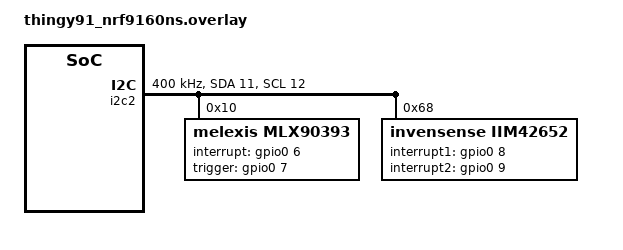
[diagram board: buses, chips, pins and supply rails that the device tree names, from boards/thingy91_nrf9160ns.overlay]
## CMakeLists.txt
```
#
# Copyright (c) 2020 Nordic Semiconductor
#
# SPDX-License-Identifier: LicenseRef-Nordic-5-Clause
#

cmake_minimum_required(VERSION 3.13.1)

find_package(Zephyr REQUIRED HINTS $ENV{ZEPHYR_BASE})
project(mlx90393_api_backend)

zephyr_library_include_directories(.)
zephyr_include_directories(src)

# NORDIC SDK APP START
target_sources(app PRIVATE src/main.c)
target_sources(app PRIVATE src/at.c)
target_sources(app PRIVATE src/nbiot.c)
target_sources(app PRIVATE src/transport.c)
target_sources(app PRIVATE src/backend.c)
target_sources(app PRIVATE src/mlx90393.c)
target_sources(app PRIVATE src/iim42652.c)
# NORDIC SDK APP END
```

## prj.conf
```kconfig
# TODO: Organize and categorize this config file

CONFIG_NRF_MODEM_LIB=y
CONFIG_NRF_MODEM_LIB_SYS_INIT=n

CONFIG_NETWORKING=y
CONFIG_NET_IPV4=y
CONFIG_NET_IPV6=y
CONFIG_NET_TCP=y
# CONFIG_NET_SHELL=y

CONFIG_NET_SOCKETS=y
CONFIG_NET_SOCKETS_OFFLOAD=y
CONFIG_NET_SOCKETS_SOCKOPT_TLS=y
CONFIG_NET_SOCKETS_POSIX_NAMES=y
CONFIG_NET_NATIVE=n
CONFIG_NET_CONFIG_LOG_LEVEL_DBG=y

# Debug stuff. TODO: Move to a separate debug overlay
CONFIG_DEBUG=y

# Enabling this setting makes the firmware crash!!! So unless this is figured
# out, you shouldn't use it (yet)...
# CONFIG_NO_OPTIMIZATIONS=y

CONFIG_DEBUG_OPTIMIZATIONS=y
CONFIG_DEBUG_THREAD_INFO=y
CONFIG_EXTRA_EXCEPTION_INFO=y

CONFIG_THREAD_STACK_INFO=y
# CONFIG_THREAD_MONITOR=y
# CONFIG_KERNEL_SHELL=y
# CONFIG_INIT_STACKS=y
CONFIG_THREAD_NAME=y

# HTTP
CONFIG_HTTP_CLIENT=y

CONFIG_HEAP_MEM_POOL_SIZE=6000
CONFIG_MAIN_STACK_SIZE=8000
CONFIG_SYSTEM_WORKQUEUE_STACK_SIZE=2048
CONFIG_HW_STACK_PROTECTION=y

CONFIG_MODEM_INFO=y
CONFIG_MODEM_KEY_MGMT=y

CONFIG_JSON_LIBRARY=y

# Enable modem UART traces
CONFIG_NRF_MODEM_LIB_TRACE_ENABLED=y

CONFIG_LTE_LINK_CONTROL=y
CONFIG_LTE_AUTO_INIT_AND_CONNECT=n

CONFIG_NEWLIB_LIBC=y
CONFIG_NEWLIB_LIBC_FLOAT_PRINTF=y

# Config logger
CONFIG_LOG=y
CONFIG_NET_LOG=y
CONFIG_USE_SEGGER_RTT=y
CONFIG_LOG_BACKEND_RTT=y
CONFIG_LOG_BACKEND_UART=n

# CONFIG_NET_SOCKETS_LOG_LEVEL_DBG=y
# CONFIG_NET_HTTP_LOG_LEVEL_DBG=y
# CONFIG_LTE_LINK_CONTROL_LOG_LEVEL_DBG=y
# CONFIG_NRF_MODEM_LIB_LOG_LEVEL_DBG=y
# CONFIG_AT_CMD_LOG_LEVEL_DBG=y
CONFIG_SENSOR_LOG_LEVEL_DBG=y

# TODO: Adjust logging memory usage to bare minimum...
CONFIG_LOG_STRDUP_MAX_STRING=2000
CONFIG_LOG_STRDUP_BUF_COUNT=15
CONFIG_LOG_PRINTK=y
CONFIG_LOG_PRINTK_MAX_STRING_LENGTH=300

CONFIG_USERSPACE=y
CONFIG_PRINTK_BUFFER_SIZE=500

CONFIG_LOG_PROCESS_THREAD_STACK_SIZE=4000
CONFIG_LOG_BUFFER_SIZE=4000
CONFIG_LOG_DETECT_MISSED_STRDUP=y

CONFIG_CONSOLE=y
CONFIG_RTT_CONSOLE=y
CONFIG_UART_CONSOLE=n

CONFIG_ASSERT=y
CONFIG_REBOOT=y
CONFIG_RESET_ON_FATAL_ERROR=n
CONFIG_FPU=y

# # Use LTE-M instead of NB-IoT
# CONFIG_LTE_NETWORK_MODE_NBIOT=n
# CONFIG_LTE_NETWORK_MODE_LTE_M=y

# Use NB-IoT instead of LTE-M
CONFIG_LTE_NETWORK_MODE_NBIOT=y
# CONFIG_LTE_NETWORK_MODE_LTE_M=n
# CONFIG_LTE_LEGACY_PCO_MODE=y

# TODO: Checkout UDP nrf sample for extra stuff like PSM, eDRX and RAI


# For Thingy91 (but seemingly unnecessary?)
# CONFIG_BOOTLOADER_MCUBOOT=y
# CONFIG_IMG_MANAGER=y
# CONFIG_MCUBOOT_IMG_MANAGER=y
# CONFIG_IMG_ERASE_PROGRESSIVELY=y

# CONFIG_FLASH=y
# CONFIG_FLASH_PAGE_LAYOUT=y
# CONFIG_FLASH_MAP=y
# CONFIG_STREAM_FLASH=y
# CONFIG_MPU_ALLOW_FLASH_WRITE=y

# GPIO config
CONFIG_GPIO=y

# Enable I2C for the IMU(s)
CONFIG_I2C=y
CONFIG_SENSOR=y

# TODO: Add Kconfig file with these options so they work...
# CONFIG_MLX90393=y
```

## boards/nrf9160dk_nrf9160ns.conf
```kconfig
CONFIG_DK_LIBRARY=y
```

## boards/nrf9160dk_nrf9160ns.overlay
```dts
&i2c2 {
	compatible = "nordic,nrf-twim";
	status = "okay";
	sda-pin = <30>;
	scl-pin = <31>;

	// TODO: Switch to I2C_BITRATE_FAST so we get 400 kHz instead of 100 kHz
	// communication? Look at documentation and power usage...
	clock-frequency = <I2C_BITRATE_STANDARD>;

	magnetometer_imu: mlx90393@c {
		compatible = "melexis,mlx90393";
		status = "okay";
		label = "MLX90393";
		reg = <0x0C>;

		// This defines the GPIO pin which is used for the interrupt
		interrupt-gpios = <&gpio0 13 (GPIO_ACTIVE_HIGH)>;

		// This defines the GPIO pin which is used for the trigger
		trigger-gpios = <&gpio0 20 (GPIO_ACTIVE_HIGH)>;
	};
};
```

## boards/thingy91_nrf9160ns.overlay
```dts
&i2c2 {
	compatible = "nordic,nrf-twim";
	status = "okay";
	sda-pin = <11>;
	scl-pin = <12>;

	// TODO: Switch to I2C_BITRATE_FAST so we get 400 kHz instead of 100 kHz
	// communication? Look at documentation and power usage...
	clock-frequency = <I2C_BITRATE_FAST>;

	magnetometer_imu: mlx90393@10 {
		compatible = "melexis,mlx90393";
		status = "okay";
		label = "MLX90393";
		reg = <0x10>;

		// This defines the GPIO pin which is used for the interrupt
		interrupt-gpios = <&gpio0 6 (GPIO_ACTIVE_HIGH)>;

		// This defines the GPIO pin which is used for the trigger
		trigger-gpios = <&gpio0 7 (GPIO_ACTIVE_HIGH)>;
	};

	accel: iim42652@68 {
		compatible = "invensense,iim42652";
		status = "okay";
		label = "IIM42652";
		reg = <0x68>;

		// GPIO pin for the interrupt
		interrupt1-gpios = <&gpio0 8 (GPIO_ACTIVE_HIGH)>;
		interrupt2-gpios = <&gpio0 9 (GPIO_ACTIVE_HIGH)>;
	};
};
```

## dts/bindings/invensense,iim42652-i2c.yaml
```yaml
# TODO: Move this to the IIM42652 driver eventually
description: |
  DeviceTree binding for the Invensense IIM42652 6-axis acceleromter and
  gyrometer IMU with temperature sensor.
compatible: "invensense,iim42652"
on-bus: i2c
include: i2c-device.yaml

# TODO: Add actual properties for the magnetomer here...
properties:
  interrupt1-gpios:
    type: phandle-array
    required: true
    description: |
      The INT signal default configuration is active-high. The property value
      should ensure that the flags properly describe the signal that is
      presented to the driver.

  interrupt2-gpios:
    type: phandle-array
    required: true
    description: |
      The INT signal default configuration is active-high. The property value
      should ensure that the flags properly describe the signal that is
      presented to the driver.
```

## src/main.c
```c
/*
 * Copyright (c) 2020 Nordic Semiconductor ASA
 *
 * SPDX-License-Identifier: LicenseRef-Nordic-5-Clause
 */

#include <logging/log.h>
LOG_MODULE_REGISTER(mlx90393_backend_integration, LOG_LEVEL_DBG);

// #include <string.h>
#include <stdbool.h>

#include <zephyr.h>

#include <net/net_ip.h>
#include <net/socket.h>

#include <at.h>
#include <nbiot.h>
#include <transport.h>
#include <backend.h>
#include <imu.h>
#include <mlx90393.h>
#include <iim42652.h>


// TODO: Clean this stuff up...
#include <zephyr/types.h>

#include <device.h>
#include <devicetree.h>
#include <drivers/gpio.h>
#include <drivers/sensor.h>

static K_SEM_DEFINE(sensor_data_ready, 0, 1);



/*
******************************************************************************
ISSUES list with this firmware...
********************************************************************************
1. HTTP GET does not always return entire response content. A regular curl
   script works just fine.
2. Parsing of JSON from said GET response, if complete, also does not work,
   returning a -22. The individual bits of the error value indicate which
   token/part failed to be parsed, so we should analyze that.

Workarounds for the above: hardcode the required asset and DN config IDs.

3. Encoding of the measurement sample data gives a zephyr crash, with a bus
   fault error. This is due to the encoding of strings, for some reason... This
   is a gamebreaker, because it prevents us from use a nice library to encode
   UTC timestamps etc... See MAKE_JSON_ENCODING_CRASH define.

Workaround: Send hardcoded, pre-formated and prepared JSON payload with hacky
snprintf() formatted data.

4. When using the modem shell sample, it is possible to see the mobile network
   time and date. However, it will sometimes be in the wrong timezone: "+8",
   which corresponds to any one of:
		- Russia
		- Taiwan
		- Mongolia
		- China
		- Malaysia
		- Brenei
		- The Philippines
		- Indonesia
		- Austrialia
   Obviously, this does not make sense... Sometimes it will be "+1", which seems
   about right for our country.

Workaround for now: hardcode the time_measured
Future workaround: Get proper UTC time from the modem, or maybe cut off the +8
part?
Best fix: Upgrade to SDK >= 1.7.0 and use the DateTime library to do NTP and get
proper UTC time.

	-> For now, microseconds are fixed to 0 as the network time does not report
	those, highest resolution is only limited to seconds. But, we have datetime.

5. This firmware does not yet work on our new PCB. The modem does not seem to
   get to the state where it can provide a working NB-IoT internet connection...
   Also, because it does work on the Thingy91 and our devkit! :/ This is really
   strange and frustrating, because:
   - the Thiny91 and devkit have been proven to work with NB-IoT, connecting to
     nRF Cloud via MQTT.
   - the Thingy91 uses the same nRF9160 chip (nRF9160_xxAA_REV2, SICA B0 for
     Thingy91, SICA B1 for devkit), modem firmware (1.3.0), and sim chip
     (NX3DV2567)...
   - the https_client sample works on the devkit and Thingy91, but not on the
     PCB...

Workaround: none :(
Cause: There is copper below the NB-IoT antenna, in the keepout zone.

6. MLX90393 is not integrated yet...

Workaround: Fake data for now, but this should not be a significant hurdle...

*/

////////////////////////////////////////////////////////////////////////////////
// NB-IoT stuff
////////////////////////////////////////////////////////////////////////////////

int setup_nbiot_things(void) {
	int err = setup_lte_modem_library();

	if (err < 0) {
		LOG_ERR("Failed to setup the LTE modem library (%d)...", err);
		return err;
	}

	/* Initialize AT comms in order to provision the certificate */
	err = at_comms_init();

	if (err < 0)
	{
		LOG_ERR("Failed to initialize AT comms with the LTE modem (%d)!", err);
		return err;
	}

	err = setup_nbiot();

	if (err < 0) {
		LOG_ERR("Failed to setup NB-IoT, err %d", err);
		return err;
	}

	print_modem_firmware_version();

	return 0;
}

int shutdown_nbiot_things(struct addrinfo *res, int fd) {
	disconnect_server(res, fd);
	return disconnect_nbiot();
}

int connect_to_backend(struct addrinfo **res) {
	// Upload via NB-IoT
	int err = connect_nbiot();

	if (err < 0) {
		LOG_ERR("Failed to connect to NB-IoT network, err %d", err);
		return err;
	}

	err = set_proper_network_datetime();

	if (err < 0) {
		LOG_ERR("Failed to set the proper network datetime, err %d", err);
		return err;
	}

	print_signal_conditions();
	print_magpio_parameters();

	// TODO: When testing with the new PCB, uncomment this to see if that maybe
	// influences the signal conditions next run?
	// set_test_magpio_parameters();

	const size_t network_datetime_size = 50;
	char network_datetime[network_datetime_size];
	memset(network_datetime, 0, network_datetime_size);
	err = get_network_datetime(network_datetime, network_datetime_size);

	if (err) {
		LOG_ERR("Failed to get the current network datetime, err %d!", err);
	} else {
		LOG_INF("Current network datetime (GMT): %s", log_strdup(network_datetime));
	}

	LOG_DBG("Connecting to the backend server...");
	int fd = connect_server(HTTPS_HOSTNAME, strlen(HTTPS_HOSTNAME), res);

	if (fd < 0) {
		LOG_ERR("Failed to connect to the server, err: %d", fd);
		return fd;
	}

	// Connection should now be established and working...
	return fd;
}

////////////////////////////////////////////////////////////////////////////////
// Sensor stuff
////////////////////////////////////////////////////////////////////////////////

static void trigger_handler(const struct device *dev, struct sensor_trigger *trigger) {
	ARG_UNUSED(dev);

	switch (trigger->type) {
		case SENSOR_TRIG_TIMER:
			LOG_INF("Timer trigger!");
			break;

		case SENSOR_TRIG_DATA_READY:
			LOG_INF("Data ready trigger!");
			break;

		default:
			LOG_INF("Unknown trigger type %d!", trigger->type);
			break;
	}

	k_sem_give(&sensor_data_ready);
}

int setup_mlx90393_things(const struct device *mlx90393_dev) {
	// Setup MLX90393
	// Maybe wait for the init to complete?
	mlx90393_dev = device_get_binding("MLX90393");

	if (!mlx90393_dev) {
		LOG_ERR("Failed to get device binding for MLX90393");
		return -1;
	}

	LOG_INF("MLX90393 device is %p, name is %s", mlx90393_dev, mlx90393_dev->name);

	if (use_interrupt) {
		if (!use_low_level) {
			struct sensor_trigger sensor_trigger_config = {
				.type = SENSOR_TRIG_DATA_READY,
				.chan = SENSOR_CHAN_ALL,
			};

			if (sensor_trigger_set(mlx90393_dev, &sensor_trigger_config, trigger_handler)) {
				LOG_ERR("Could not setup sensor trigger!");
				k_sleep(K_MSEC(100));
				return -2;
			}
		}
	}

	return 0;
}

////////////////////////////////////////////////////////////////////////////////
// Main function
////////////////////////////////////////////////////////////////////////////////

void main(void)
{
	int err = -1;
	LOG_INF("New backend API firmware started - compiled at %s", __TIMESTAMP__);

	// Setup NB-IoT
	err = setup_nbiot_things();

	if (err < 0) {
		LOG_ERR("Failed to setup NB-IoT things (%d)! Shutting down...", err);
		k_msleep(10);
		return;
	}

	// Test IIM42652
	const struct device *iim42652_dev = device_get_binding("IIM42652");

	if (!iim42652_dev) {
		LOG_ERR("Failed to get device binding for IIM42652");
		return;
	}

	err = test_who_am_i();

	if (err < 0) {
		LOG_ERR("Failed to get WHO_AM_I from IIM42652 (%d)", err);
	}

	// Setup MLX90393
	struct device *mlx90393_dev = NULL;
	err = setup_mlx90393_things(mlx90393_dev);

	if (err < 0) {
		LOG_ERR("Failed to setup MLX90393 things (%d)! Shutting down...", err);
		k_msleep(10);
		return;
	}

	uint32_t iterations = 0u;
	// uint8_t burst_sample_rate = 50; // Multiply by 20 ms to get actual sample
	// rate
	#if 1
	enum mlx90393_mode mode = MLX90393_SINGLE_MEASUREMENT_MODE;
	#else
	enum mlx90393_mode mode = MLX90393_BURST_MODE;
	#endif

	LOG_DBG("Current mode: %d", mode);

	bool mode_set = false;
	uint32_t num_samples = 0u;
	uint32_t num_uploads = 0u;

	while (true) {
		// Disable/enable reading of MLX90393
		#if (1)

		// Get actual measurement data
		if (use_low_level) {
			// Read all temperature + xyz axes of MLX90393 magnetometer
			uint8_t zyxt = MLX90393_T | MLX90393_X | MLX90393_Y | MLX90393_Z;
			const uint8_t max_attempts = 10u;

			// Keep doing Melexis reading until we succeed...
			while (1) {
				bool success = false;
				bool in_correct_mode = false;

				uint8_t command = MLX90393_CMD_NOP;

				switch (mode) {
					case MLX90393_SINGLE_MEASUREMENT_MODE:
						command = MLX90393_CMD_SM;
						break;

					case MLX90393_BURST_MODE:
						// Only set the burst mode if we haven't done so yet
						if (!mode_set) {
							// TODO: First, update the registers with the burst
							// parameters that we want, such as sample frequency
							err = mlx90393_try_command(MLX90393_CMD_WR, zyxt,
								MLX90393_REG_BURST_DATA_RATE, 50, MLX90393_IDLE_MODE,
								&success, &in_correct_mode, 10u);

							if (err || !success) {
								LOG_ERR("Failed to setup burst sample rate, err: %d", err);
								continue;
							}

							// Then do the SB command
							LOG_DBG("Successfully set burst sample rate!");
							command = MLX90393_CMD_SB;
						}

						break;

					default:
						break;
				}

				// Set the mode of the MLX90393, execute command
				if (command != MLX90393_CMD_NOP) {
					err = mlx90393_try_command(command, zyxt, 0, 0, mode, &success, &in_correct_mode, max_attempts);

					if (err) {
						LOG_ERR("Error trying to execute command 0x%x: %d", command, err);
					}
				}

				if (!success) {
					LOG_DBG("No success yet, even after %d attempts, trying again...", max_attempts);
					continue;
				}

				LOG_DBG("Command 0x%x succeeded: %d, in correct mode: %d, err: %d",
					command, success, in_correct_mode, err);
				mode_set = true;

				// Wait either 1 second, or until data is ready
				if (use_interrupt) {
					LOG_DBG("Waiting for semaphore from trigger...");
					// k_usleep(50);
					k_sem_take(&((struct mlx90393_data_t *) mlx90393_dev->data)->data_ready_sem, K_FOREVER);
					LOG_DBG("Got semaphore from trigger!");
				} else {
					LOG_DBG("Sleeping for a bit because we aren't triggered");
					k_msleep(100);
					LOG_DBG("Still here...");
				}

				// Do RM aka Read Measurement command to read magnetometer data
				command = MLX90393_CMD_RM;

				if (mode == MLX90393_SINGLE_MEASUREMENT_MODE || mode == MLX90393_BURST_MODE) {
					err = mlx90393_try_command(command, zyxt, 0, 0, MLX90393_IDLE_MODE, &success, &in_correct_mode, max_attempts);

					if (err) {
						LOG_ERR("Error trying to execute command RM (0x%x): %d", command, err);
					}

					if (!success) {
						continue;
					}

					LOG_DBG("RM command succeeded: %d, in correct mode: %d, err: %d",
						success, in_correct_mode, err);

					mlx90393_decode(zyxt);
					++num_samples;
					int64_t elapsed_milliseconds = k_uptime_get();
					uint32_t sample_rate = 100 * num_samples / (elapsed_milliseconds / 1000);

					LOG_INF("\tTemp: %u, x: %u, y: %u, z: %u, sample rate: %u Hz",
						mlx90393_t, mlx90393_x, mlx90393_y, mlx90393_z, sample_rate);

					// LOG_INF("Got %u samples, sample rate * 100: %u Hz",
					// 	num_samples, sample_rate);

					if (!use_interrupt) {
						k_sleep(K_MSEC(100));
					}

					LOG_INF("Got %u samples so far, sample rate * 100: %lld",
						num_samples, 100 * num_samples / (elapsed_milliseconds / 1000));
					break;
				}
			}
		} else {
			// Read all temperature + xyz axes of MLX90393 magnetometer
			uint32_t num_samples = 0u;

			while (1) {
				// Prepare/fetch sensor data
				err = sensor_sample_fetch_chan(mlx90393_dev, SENSOR_CHAN_ALL);

				if (err) {
					LOG_ERR("Failed to fetch sensor sample! Error code: %d", err);
					continue;
				}

				// Actually get sensor data
				struct sensor_value sensor_values_xyzt[4] = { 0 };

				err = sensor_channel_get(mlx90393_dev, SENSOR_CHAN_ALL, sensor_values_xyzt);

				if (err) {
					LOG_ERR("Failed to read sensor sample! Error code: %d", err);
					continue;
				}

				++num_samples;
				int64_t elapsed_milliseconds = k_uptime_get();

				LOG_INF("\tTemp: %i.%i, x: %i.%i, y: %i.%i, z: %i.%i, sample rate * 100: %lld Hz",
					sensor_values_xyzt[3].val1, sensor_values_xyzt[3].val2,
					sensor_values_xyzt[0].val1, sensor_values_xyzt[0].val2,
					sensor_values_xyzt[1].val1, sensor_values_xyzt[1].val2,
					sensor_values_xyzt[2].val1, sensor_values_xyzt[2].val2,
					100 * num_samples / (elapsed_milliseconds / 1000));


				LOG_INF("Got %u samples so far, sample rate: %lld Hz",
					num_samples, num_samples / (elapsed_milliseconds / 1000));
				break;
			}
		}
		#endif

		// Setup data struct
		measurement_data_t data = {
			.ax = 12345.12345678,
			.ay = 12345.12345678,
			.az = 12345.12345678,

			.gx = 12345.12345678,
			.gy = 12345.12345678,
			.gz = 12345.12345678,

			.mx = mlx90393_x,
			.my = mlx90393_y,
			.mz = mlx90393_z,

			.temp = mlx90393_t,
		};

		// Upload to backend
		if (true) {
			print_magpio_parameters();

			struct addrinfo *res = NULL;
			int fd = connect_to_backend(&res);

			if (fd < 0) {
				LOG_ERR("Failed to connect to the backend, err: %d", fd);
				goto clean_up;
			}

			#if (DO_HTTP_GET == 1)
			err = get_datanodes(fd);

			if (err < 0) {
				LOG_ERR("Failed to get datanodes, err %d", err);
				goto clean_up;
			}
			#endif

			#if (DO_HTTP_POST == 1)
			err = upload_data(fd, &data);

			if (err < 0) {
				LOG_ERR("Failed to upload data, err %d", err);
				goto clean_up;
			}

			++num_uploads;
			#endif

			LOG_INF("Finished, closing socket.\n");

		clean_up:
			err = shutdown_nbiot_things(res, fd);

			if (err < 0) {
				LOG_WRN("Failed to shutdown NB-IoT things, but continuing anyway, err %d", err);
			}
		}

		k_msleep(1000);
		++iterations;
	} // End of main while loop...

	shutdown_lte_modem_library();

	k_msleep(100);
	return;
}
```

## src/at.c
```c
#include <logging/log.h>
LOG_MODULE_REGISTER(AT, LOG_LEVEL_INF);

#include <string.h>

#include <zephyr.h>


#include <modem/at_cmd.h>
#include <modem/at_notif.h>

#include <at.h>


/* Initialize AT communications */
int at_comms_init(void)
{
	int err = at_cmd_init();
	if (err < 0)
	{
		LOG_ERR("Failed to initialize AT commands, err %d", err);
		return err;
	}

	// Do not remove this call, even though we don't make use of AT
	// notifications ourselves! It is required by the LTE Link Control driver,
	// otherwise the NB-IoT connection will never succeed!
	err = at_notif_init();
	if (err < 0)
	{
		LOG_ERR("Failed to initialize AT notifications, err %d", err);
		return err;
	}

	return 0;
}

int at_cmd_helper(const char *command, char *output_buffer, size_t output_buffer_size)
{
	if (!output_buffer)
	{
		LOG_ERR("Cannot execute AT command with an empty output buffer!");
		return -1;
	}

	memset(output_buffer, 0, output_buffer_size);
	int err = at_cmd_write(command, output_buffer, output_buffer_size, NULL);

	if (err < 0)
	{
		LOG_WRN("Failed to execute AT command (%s)!", log_strdup(command));
	}
	else
	{
		LOG_DBG("AT cmd (%s) (%d bytes): %s", log_strdup(command), strlen(output_buffer), log_strdup(output_buffer));
	}

	return err;
}

int at_cmd_helper_easy_mode(const char *command)
{
	const size_t buffer_size = 35;
	char buffer[buffer_size];
	return at_cmd_helper(command, buffer, buffer_size);
}

int at_cmd_helper_easy_mode_printer(const char *command, const size_t buffer_size)
{
	char buffer[buffer_size];
	int err = at_cmd_helper(command, buffer, buffer_size);

	if (err < 0) {
		LOG_WRN("Command failed, err %d!", err);
	} else {
		LOG_INF("%s", log_strdup(buffer));
	}

	return err;
}

int print_provisioned_certificates(void)
{
	// Execute AT command
	const char command[] = "AT%CMNG=1";

	// Retrieving the provisioned certificates can take a lot of space...
	const size_t buffer_size = 1000;

	LOG_INF("Provisioned certificates:");
	return at_cmd_helper_easy_mode_printer(command, buffer_size);
}

int print_modem_firmware_version(void)
{
	// Execute AT command
	const char command[] = "AT+CGMR";
	const size_t buffer_size = 25;

	LOG_INF("Modem firmware version:");
	return at_cmd_helper_easy_mode_printer(command, buffer_size);
}

int print_signal_conditions(void)
{
	const char command[] = "AT%CONEVAL";
	const size_t buffer_size = 75;

	LOG_INF("LTE signal conditions:");
	return at_cmd_helper_easy_mode_printer(command, buffer_size);
}

int print_magpio_parameters(void) {
	const char command[] = "AT%XMAGPIO?";
	const size_t buffer_size = 150;

	LOG_INF("Test command %s", log_strdup(command));
	return at_cmd_helper_easy_mode_printer(command, buffer_size);
}

int set_test_magpio_parameters(void) {
	const char command[] = "AT%XMAGPIO=1,1,1,7,1,746,803,2,698,748,2,1710,2200,3,824,894,4,880,960,5,791,849,7,1565,1586";
	const size_t buffer_size = 50;

	LOG_INF("Executing test command %s", log_strdup(command));
	return at_cmd_helper_easy_mode_printer(command, buffer_size);
}

int get_network_datetime(char *output_buffer, size_t output_buffer_size)
{
	// Execute AT command
	const char command[] = "AT%CCLK?";
	return at_cmd_helper(command, output_buffer, output_buffer_size);
}

int set_proper_network_datetime(void)
{
	// Extract modem time
	int ms_slept = 0;
	int miliseconds_to_sleep = 1;
	int err = 0;

	const size_t buffer_size = 50;
	char buffer[buffer_size];
	memset(buffer, 0, buffer_size);

	do
	{
		err = get_network_datetime(buffer, buffer_size);

		if (err < 0)
		{
			k_msleep(miliseconds_to_sleep);
			ms_slept += miliseconds_to_sleep;
		}
	} while (err < 0);

	LOG_DBG("After %d ms of sleep, network time is available", ms_slept);

	LOG_DBG("Timezone offset = %c%c%c", buffer[25], buffer[26], buffer[27]);

	// Prepare setting time back command
	const __uint32_t command_size = 33;
	char command[command_size];
	memset(command, '\0', command_size);

	// Add the AT command to set the time
	const char at_command_part[] = "AT%CCLK=";
	__uint32_t command_length = strlen(at_command_part);
	memcpy(command, at_command_part, command_length);

	// Use memcpy to copy over the datetime part of the buffer
	__uint32_t offset = strlen("+CCLK: ");
	__uint32_t datetime_length = strlen(buffer + offset) - 2; // ignore \r\n
	memcpy(command + command_length, buffer + offset, datetime_length);

	// Set it back with the proper timezone...
	command[26] = '+';
	command[27] = '0';
	command[28] = '1'; // We need +1 for NL, compared to GMT

	// Add in the daylight savings time and null terminator
	command[30] = ',';
	command[31] = '1'; // Currently we are on daylight savings time, 1 hour ahead
	command[32] = '\0';

	// And then execute the command
	return at_cmd_helper_easy_mode(command);
}
```

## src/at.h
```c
#ifndef APP_AT_H
#define APP_AT_H


/**
 * @brief Sets up everything needed to enable the usage of AT modem commands.
 *
 * @returns int indicating an error if < 0, succes otherwise.
 */
int at_comms_init(void);

/**
 * @brief Executes a given AT command to the modem.
 *
 * @param command a null-terminated string holding an AT command, e.g. AT+CMD
 * @param output_buffer a buffer to store the AT response in
 * @param output_buffer_size the size of the output buffer
 *
 * NOTE: Ensure you have setup AT communications (with the modem) before calling
 * this function, via at_comms_init()!
 *
 * @returns int indicating an error if < 0, succes otherwise.
 */
int at_cmd_helper(const char *command, char *output_buffer, size_t output_buffer_size);

/**
 * @brief Helper function to easily execute an AT command to the modem.
 *
 * This function internally calls the at_cmd_helper(), but the output of the AT
 * command is lost after the function returns. You can set this module's logging
 * level to DBG to view it, or use the at_cmd_helper() function to preserve the
 * output.
 *
 * @param command a null-terminated string holding an AT command, e.g. AT+CMD
 *
 * NOTE: Ensure you have setup AT communications (with the modem) before calling
 * this function, via at_comms_init()!
 *
 * @returns int indicating an error if < 0, succes otherwise.
 */
int at_cmd_helper_easy_mode(const char *command);

/**
 * @brief Helper function to easily execute an AT command to the modem.
 *
 * The same as at_cmd_helper_easy_mode(), except you now have the ability to
 * specify a buffer size before hand, if the default of the aforementioned
 * function is not enough.
 *
 * @param command a null-terminated string holding an AT command, e.g. AT+CMD
 * @param buffer_size output buffer size for holding and printing the result
 *
 * NOTE: Ensure you have setup AT communications (with the modem) before calling
 * this function, via at_comms_init()!
 *
 * @returns int indicating an error if < 0, succes otherwise.
 */
int at_cmd_helper_easy_mode_printer(const char *command, const size_t buffer_size);

/**
 * @brief Prints the currently provisioned modem certificates.
 *
 * Set this module's logging level to INF to view the certificates
 *
 * NOTE: Ensure you have setup AT communications (with the modem) before calling
 * this function, via at_comms_init()!
 *
 * @returns int indicating an error if < 0, succes otherwise.
 */
int print_provisioned_certificates(void);

/**
 * @brief Prints the current modem firmware version.
 *
 * Set this module's logging level to INF to view the output
 *
 * NOTE: Ensure you have setup AT communications (with the modem) before calling
 * this function, via at_comms_init()!
 *
 * @returns int indicating an error if < 0, succes otherwise.
 */
int print_modem_firmware_version(void);

/**
 * @brief Prints the current signal conditions.
 *
 * Set this module's logging level to INF to view the output
 *
 * NOTE: Ensure you have setup AT communications (with the modem) before calling
 * this function, via at_comms_init()!
 *
 * @returns int indicating an error if < 0, succes otherwise.
 */
int print_signal_conditions(void);

/**
 * @brief Prints the current AT%XMAGPIO parameters.
 *
 * Set this module's logging level to INF to view the output
 *
 * NOTE: Ensure you have setup AT communications (with the modem) before calling
 * this function, via at_comms_init()!
 *
 * @returns int indicating an error if < 0, succes otherwise.
 */
int print_magpio_parameters(void);

/**
 * @brief Sets the current AT%XMAGPIO parameters to some fixed test values.
 *
 * Set this module's logging level to INF to view the output
 *
 * NOTE: Ensure you have setup AT communications (with the modem) before calling
 * this function, via at_comms_init()!
 *
 * @returns int indicating an error if < 0, succes otherwise.
 */
int set_test_magpio_parameters(void);

/**
 * @brief Retrieves the current network datetime as known by the LTE
 * modem/network.
 *
 * Note that this function will fail if the network date and time are not yet
 * available to the LTE modem! It can take a few miliseconds for it to be
 * available...
 *
 * @param output_buffer a buffer to store the network datetime in
 * @param output_buffer_size the size of the output buffer
 *
 * NOTE: Ensure you have setup AT communications (with the modem) before calling
 * this function, via at_comms_init()!
 * NOTE: You may want to call set_proper_network_datetime() first, to ensure
 * that the datetime returned from this function makes (more) sense.
 *
 * @returns int indicating an error if < 0, succes otherwise.
 */
int get_network_datetime(char *output_buffer, size_t output_buffer_size);

/**
 * @brief Sets the proper network date and time back to the LTE modem.
 *
 * NOTE: Right now, this done a bit hacky. It assumes that the datetime from
 * the network is considered GMT (supposedly defined by 3GPP spec), and it is
 * accurate regarding the date and time values. Then, it hardcodes the correct
 * timezone and daylight savings time for the Netherlands, and writes the
 * datetime back to the LTE modem...
 *
 * NOTE: Ensure you have setup AT communications (with the modem) before calling
 * this function, via at_comms_init()!
 *
 * @returns int indicating an error if < 0, succes otherwise.
 */
int set_proper_network_datetime(void);

#endif // APP_AT_H
```

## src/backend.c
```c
// TODO: Change these, and other (duplicate) files, to become part of a
// driver/library etc, so we can do code-reuse rather than duplicate code files.


#include <logging/log.h>
LOG_MODULE_REGISTER(backend, LOG_LEVEL_DBG);

#include <stdio.h> // for snprintf()
#include <string.h>

#include <zephyr.h>

#include <net/net_ip.h>
#include <net/socket.h>
#include <net/http_client.h>


#if (USE_JSON_ENCODING == 1)
#include <data/json.h>
#endif

#include <at.h>
#include <transport.h>
#include <backend.h>

static const char *application_headers[] = {
	"Authorization: Token " API_AUTHENTICATION_TOKEN "\r\n",
	NULL,
};

static char api_buf[API_BUF_SIZE] = { '\0' };

// TODO: Remove these hardcoded values when the JSON parsing of the GET call
// works...
const __uint32_t DN_CONFIG_ID = FIXED_DN_CONFIG_ID;
const __uint32_t DN_ASSET_ID = FIXED_DN_ASSET_ID;



int get_time_measured(char *buffer) {
	if (!buffer) {
		LOG_ERR("Null pointer exception avoided, buffer is NULL!");
		return -1;
	}

	const size_t at_buffer_size = 50;
	char at_buffer[at_buffer_size];
	memset(at_buffer, 0, at_buffer_size);

	int err = get_network_datetime(at_buffer, at_buffer_size);

	if (err < 0) {
		LOG_ERR("Failed to get network time, err %d", err);
		return err;
	}

	// Convert to time_measured format (UTC), which is:
	// YYYY-MM-DD hh:mm:ss.ususus
	// e.g.:
	// 2022-02-25 08:18:52.549211

	// Add in the 2 extra leading year digits
	buffer[0] = '2';
	buffer[1] = '0';

	// Copy over the rest of the date and time
	__uint32_t offset = strlen("+CCLK: \""); // Also ignore the first "
	__uint32_t datetime_length = strlen("YY/MM/DD,hh:mm:ss");
	memcpy(buffer + 2, at_buffer + offset, datetime_length);

	// Change / to - for the date part
	buffer[4] = '-';
	buffer[7] = '-';

	// Replace the comma between date and time with a space
	buffer[10] = ' ';

	// Add in microseconds
	buffer[19] = '.';

	// TODO: Actually get microseconds...
	for (size_t i = 0; i < 6; ++i) {
		buffer[20 + i] = '0';
	}

	return 0;
}


int hack_float_value_into_string(char *buffer, size_t buffer_size, size_t offset, float value) {
	// Figure out how many bytes are needed, excluding the null terminator
	int length = snprintf(NULL, 0, "%f", value);

	// Make a backup of the character which would be overwritten by the null
	// terminator added by snprintf()
	size_t backup_offset = offset + length;
	char backup = buffer[backup_offset];

	// Format the float into the buffer
	int err = snprintf(buffer + offset, buffer_size - offset, "%f", value);

	// Restore backup character, remove null terminator
	buffer[backup_offset] = backup;

	return err;
}

void json_test(void) {
#if (USE_JSON_ENCODING == 1)
	// Try to parse the JSON
	char test[] = "{\"count\":2,\"next\":null,\"previous\":null,\"results\":[{\"id\":2,\"name\":\"Data Node 2.0.1\",\"asset\":{\"id\":4,\"name\":\"Anything Connected Office\"},\"measurement_location\":{\"id\":4,\"name\":\"Anything Connected Office\"},\"mac_address\":\"F7:5A:A0:88:97:38\",\"connection_type\":20,\"last_active\":\"2022-03-23T11:19:09.000000\",\"connected\":false,\"uptime\":100,\"sensors\":[],\"configuration\":{\"id\":3,\"name\":\"Data Node 2.0.1 config\",\"enabled_measurements\":[\"ax\",\"ay\",\"az\",\"gx\",\"gy\",\"gz\",\"mx\",\"my\",\"mz\",\"temp\"]},\"asset_coord_x\":null,\"asset_coord_y\":null},{\"id\":1,\"name\":\"Dev DN\",\"asset\":{\"id\":1,\"name\":\"Default Asset\"},\"measurement_location\":{\"id\":1,\"name\":\"Default Asset\"},\"mac_address\":\"AA:BB:CC:DD:EE:FF\",\"connection_type\":10,\"last_active\":\"2022-04-18T12:49:51.372061\",\"connected\":true,\"uptime\":100,\"sensors\":[],\"configuration\":{\"id\":1,\"name\":\"Default for Dev DN\",\"enabled_measurements\":[\"ax\",\"ay\",\"az\",\"gx\",\"gy\",\"gz\",\"mx\",\"my\",\"mz\",\"temp\"]},\"asset_coord_x\":null,\"asset_coord_y\":null}]}{\"count\":2,\"next\":null,\"previous\":null,\"results\":[{\"id\":2,\"name\":\"Data Node 2.0.1\",\"asset\":{\"id\":4,\"name\":\"Anything Connected Office\"},\"measurement_location\":{\"id\":4,\"name\":\"Anything Connected Office\"},\"mac_address\":\"F7:5A:A0:88:97:38\",\"connection_type\":20,\"last_active\":\"2022-03-23T11:19:09.000000\",\"connected\":false,\"uptime\":100,\"sensors\":[],\"configuration\":{\"id\":3,\"name\":\"Data Node 2.0.1 config\",\"enabled_measurements\":[\"ax\",\"ay\",\"az\",\"gx\",\"gy\",\"gz\",\"mx\",\"my\",\"mz\",\"temp\"]},\"asset_coord_x\":null,\"asset_coord_y\":null},{\"id\":1,\"name\":\"Dev DN\",\"asset\":{\"id\":1,\"name\":\"Default Asset\"},\"measurement_location\":{\"id\":1,\"name\":\"Default Asset\"},\"mac_address\":\"AA:BB:CC:DD:EE:FF\",\"connection_type\":10,\"last_active\":\"2022-04-18T12:49:51.372061\",\"connected\":true,\"uptime\":100,\"sensors\":[],\"configuration\":{\"id\":1,\"name\":\"Default for Dev DN\",\"enabled_measurements\":[\"ax\",\"ay\",\"az\",\"gx\",\"gy\",\"gz\",\"mx\",\"my\",\"mz\",\"temp\"]},\"asset_coord_x\":null,\"asset_coord_y\":null}]}";

	struct datanode_api datanode_results_test;
	int err = json_obj_parse(test, strlen(test),
		json_datanode_api_main_obj_descr,
		ARRAY_SIZE(json_datanode_api_main_obj_descr),
		&datanode_results_test);

	if (err < 0) {
		LOG_ERR("JSON parse error! %d", err);

		// Try this:
		struct aids {
			__uint32_t count;
		};

		const struct json_obj_descr aids_descr[] = {
			JSON_OBJ_DESCR_PRIM(struct aids, count, JSON_TOK_NUMBER),
		};

		char aids_test_string[] = "{\"count\":123}";

		struct aids aids_test;
		err = json_obj_parse(aids_test_string, strlen(aids_test_string),
			aids_descr,
			ARRAY_SIZE(aids_descr),
			&aids_test);

		if (err < 0) {
			LOG_ERR("JSON parse error again! %d", err);
		} else {
			LOG_INF("Json parse successful! Count: %d", aids_test.count);
		}
	}
#endif
}


int get_datanodes(int fd) {
	json_test();

	response_user_data_t http_get_call;
	int err = prepare_response_user_data(&http_get_call);

	if (err < 0) {
		LOG_ERR("Failed to prepare user data struct, err %d", err);
		return err;
	}

	memset(api_buf, '\0', API_BUF_SIZE);

	http_get_call.response_option = RESPONSE_STORE_BODY_ONLY;
	http_get_call.response_buf = api_buf;
	http_get_call.response_buf_size = API_BUF_SIZE;

	struct http_request get_req;
	err = prepare_http_request(&get_req);

	if (err < 0) {
		LOG_ERR("Failed to prepare HTTP request, err %d", err);
		return err;
	}

	get_req.method = HTTP_GET;
	get_req.url = HTTP_GET_RESOURCE;
	get_req.host = HTTPS_HOSTNAME;
	get_req.header_fields = application_headers;

	int32_t get_timeout = DEFAULT_HTTP_REQUEST_TIMEOUT_SECONDS * MSEC_PER_SEC;

	err = do_http_request(&get_req, fd, get_timeout, &http_get_call);

	if (err < 0) {
		LOG_ERR("Failed to do HTTP GET request to retrieve datanodes, err %d", err);
		return err;
	}

	LOG_INF("Murt, GET response:");
	LOG_INF("%s", log_strdup(api_buf));

#if (USE_JSON_DECODING == 1)
	// Try to parse the JSON
	struct datanode_api datanode_results;
	err = json_obj_parse(api_buf, http_get_call.response_buf_index - 1,
		json_datanode_api_main_obj_descr,
		ARRAY_SIZE(json_datanode_api_main_obj_descr),
		&datanode_results);

	if (err < 0) {
		LOG_ERR("JSON parse error! %d, but continuing anyway", err);
	}
#endif

	return 0;
}

int upload_data(int fd, measurement_data_t *data) {
	if (!data) {
		LOG_ERR("Given data pointer is NULL, nothing to upload!");
		return -1;
	}

	response_user_data_t http_post_call;
	int err = prepare_response_user_data(&http_post_call);

	if (err < 0) {
		LOG_ERR("Failed to prepare user data struct, err %d", err);
		return err;
	}

	memset(api_buf, '\0', API_BUF_SIZE);

	http_post_call.response_option = RESPONSE_STORE_HTTP_STATUS_ONLY;
	http_post_call.response_buf = api_buf;
	http_post_call.response_buf_size = API_BUF_SIZE;

	struct http_request post_req;
	err = prepare_http_request(&post_req);

	if (err < 0) {
		LOG_ERR("Failed to prepare HTTP request, err %d", err);
		return err;
	}

	const char *headers[] = {
		"Content-Type: application/json\r\n",
		NULL,
	};

	post_req.method = HTTP_POST;
	post_req.url = HTTP_POST_RESOURCE;
	post_req.host = HTTPS_HOSTNAME;
	post_req.header_fields = application_headers;
	post_req.optional_headers = headers;

	// Add payload

#if (USE_JSON_ENCODING == 1)
	struct measurement_api_sample measurement_data = {
#if (MAKE_JSON_ENCODING_CRASH == 1)
		// .time_measured = "123",
#endif
		.asset_id = DN_ASSET_ID,
		.data_node_configuration_id = DN_CONFIG_ID,
		.data = {
			.mx = 1,
			.my = 2,
			.mz = 3,
			.temp = 4,
		},
	};

	err = json_obj_encode_buf(
		&json_measurement_api_sample_obj_descr,
		ARRAY_SIZE(json_measurement_api_sample_obj_descr),
		&measurement_data,
		api_buf,
		API_BUF_SIZE);

	if (err < 0) {
		LOG_ERR("Failed to encode json! %d", err);
	}

	post_req.payload = api_buf;
#else
	// Fake data payload:
	// char payload[] = "{\"time_measured\":\"2022-04-26 13:37:42.123456\", \"asset_id\":1, \"data_node_configuration\":1, \"data\":{\"ax\":12345.12345678,\"ay\":12345.12345678,\"az\":12345.12345678,\"gx\":12345.12345678,\"gy\":12345.12345678,\"gz\":12345.12345678,\"mx\":12345.12345678,\"my\":12345.12345678,\"mz\":12345.12345678,\"temp\":12345.12345678}}";

	// Pre-JSON encoded data payload
	// NOTE: This assumes that floats are always in the range -xxxxx.xxxxxxxx to
	// xxxxx.xxxxxxxx (5 decimals for the integer, and 8 decimals for the
	// fraction), plus one character for a potential minus sign. This assumption
	// may prove invalid...
	char payload[] = "{\"time_measured\":\"2022-04-26 13:37:42.123456\", \"asset_id\":1, \"data_node_configuration\":1, \"data\":{\"ax\":               ,\"ay\":               ,\"az\":               ,\"gx\":               ,\"gy\":               ,\"gz\":               ,\"mx\":               ,\"my\":               ,\"mz\":               ,\"temp\":               }}";
	size_t payload_size = strlen(payload);

	// Hack in the time_measured by overwriting the value above (same length)
	// This is a terrible hack, but yes, it works...
	// TODO: Fix it by using the JSON encoding library?
	err = get_time_measured(payload + 18); // remember, \" is 1 character...

	if (err < 0) {
		LOG_ERR("Error, failed to hack in the time_measured, err %d", err);
	}

#if (USE_FLOAT_ARRAY_HACK == 1)
	// Cast the struct to a float*, so we can use pointer arithmetic
	float *data_float = (float *) data;

	// Do all 3-axis sensors first: accel, gyro, mag
	for (size_t i = 0; i < 9; i++)
	{
		err = hack_float_value_into_string(payload, payload_size, 103 + i * 21, data_float[i]);

		if (err < 0) {
			LOG_ERR("Failed to encode value %f at index %u", data_float[i], i);
		}
	}

	// Then add in the temp
	err = hack_float_value_into_string(payload, payload_size, 294, data->temp);

	if (err < 0) {
		LOG_ERR("Failed to encode temp value %f at index %u", data->temp, 294);
	}
#else
	// Hack in the measurements... This is a terrible hack, but it works...
	// TODO: Fix it by using the JSON encoding library?
	float mx = 123.456, my = 456.789, mz = 789.123;

	// Accelerometer xyz
	err = hack_float_value_into_string(payload, payload_size, 103, 12345.12345678);

	if (err < 0) {
		LOG_ERR("Error, failed to encode ax, err %d", err);
	}

	err = hack_float_value_into_string(payload, payload_size, 124, 12345.12345678);

	if (err < 0) {
		LOG_ERR("Error, failed to encode ay, err %d", err);
	}

	err = hack_float_value_into_string(payload, payload_size, 145, 12345.12345678);

	if (err < 0) {
		LOG_ERR("Error, failed to encode az, err %d", err);
	}

	// Gyrometer xyz
	err = hack_float_value_into_string(payload, payload_size, 166, 12345.12345678);

	if (err < 0) {
		LOG_ERR("Error, failed to encode gx, err %d", err);
	}

	err = hack_float_value_into_string(payload, payload_size, 187, 12345.12345678);

	if (err < 0) {
		LOG_ERR("Error, failed to encode gy, err %d", err);
	}

	err = hack_float_value_into_string(payload, payload_size, 208, 12345.12345678);

	if (err < 0) {
		LOG_ERR("Error, failed to encode gz, err %d", err);
	}

	// Magnetometer xyz
	err = hack_float_value_into_string(payload, payload_size, 229, mx);

	if (err < 0) {
		LOG_ERR("Error, failed to encode mx, err %d", err);
	}

	err = hack_float_value_into_string(payload, payload_size, 250, my);

	if (err < 0) {
		LOG_ERR("Error, failed to encode my, err %d", err);
	}

	err = hack_float_value_into_string(payload, payload_size, 271, mz);

	if (err < 0) {
		LOG_ERR("Error, failed to encode mz, err %d", err);
	}

	// Temperature
	err = hack_float_value_into_string(payload, payload_size, 294, 12345.12345678);

	if (err < 0) {
		LOG_ERR("Error, failed to encode temp, err %d", err);
	}
#endif

	post_req.payload = payload;

#endif

	post_req.payload_len = strlen(post_req.payload);
	LOG_DBG("Payload (%d bytes): %s", post_req.payload_len, log_strdup(post_req.payload));

	int32_t timeout_post_req = DEFAULT_HTTP_REQUEST_TIMEOUT_SECONDS * MSEC_PER_SEC;

	err = do_http_request(&post_req, fd, timeout_post_req, &http_post_call);

	if (err < 0) {
		LOG_ERR("Failed to do HTTP POST request to upload data, err %d", err);
		return err;
	}

	LOG_DBG("Http client bytes sent: %d", err);

	LOG_INF("Murt, POST response:");
	LOG_INF("%s\n", log_strdup(api_buf));

	return 0;
}
```

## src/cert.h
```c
#ifndef APP_CERT_H
#define APP_CERT_H


const char cert[] = {
	#include "../cert/Baltimore_CyberTrust_Root_Api_Dev_AC_Backend.crt"
};

BUILD_ASSERT(sizeof(cert) < KB(4), "Certificate too large");

#endif // APP_CERT_H
```

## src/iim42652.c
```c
#include <zephyr/types.h>		// For Zephyr types and stdint.h
#include <device.h>
#include <devicetree.h>
#include <drivers/sensor.h>
#include <drivers/gpio.h>
#include <drivers/i2c.h>
#include <sys/__assert.h>
#include <sys/byteorder.h>
#include <sys/util.h>
#include <init.h>
#include <kernel.h>
#include <string.h>
#include <logging/log.h>

#include <imu.h>
#include <iim42652.h>

static const struct device *iim42652_device = NULL;

LOG_MODULE_REGISTER(IIM42652, LOG_LEVEL_DBG);

#define DT_DRV_COMPAT invensense_iim42652



////////////////////////////////////////////////////////////////////////////////
// Utility functions
////////////////////////////////////////////////////////////////////////////////



// Generic I2C <start><write><repeated start><read><stop>.
// One buffer is used for TX and RX so you better make it
// large enough for both operations.
int i2c_write_read_handler_iim42652(uint8_t *p_data, uint8_t tx_size, uint8_t rx_size) {
	struct iim42652_data_t *device_data = iim42652_device->data;

	// LOG_INF("Doing i2c write shit...");
	int err = i2c_write(device_data->i2c, p_data, tx_size, IIM42652_I2C_ADDRESS);

	if (err) {
		LOG_ERR("Failed to send i2c data! Error code: %i", err);
		return err;
	}

	// LOG_INF("Doing i2c read shit...");
	err = i2c_read(device_data->i2c, p_data, rx_size, IIM42652_I2C_ADDRESS);

	if (err) {
		LOG_ERR("Failed to read i2c data! Error code: %i", err);
		return err;
	}

	// int err = i2c_write_read(device_data->i2c, IIM42652_I2C_ADDRESS,
	// 	p_data, tx_size, p_data, rx_size);

	// if (err) {
	// 	LOG_ERR("Failed to do i2c_write_read! Error code: %i", err);
	// }
	// LOG_INF("Doing i2c shit transfer success");
	return 0;
}


////////////////////////////////////////////////////////////////////////////////
// Main driver implementation
////////////////////////////////////////////////////////////////////////////////

// Up to 9 bytes may be returned.
uint8_t iim42652_data_buffer[10] = {0U};
uint8_t iim42652_status = 0;
uint16_t iim42652_t     = 0;
uint16_t iim42652_x     = 0;
uint16_t iim42652_y     = 0;
uint16_t iim42652_z     = 0;
uint8_t iim42652_memory[64 * 2]; // 64 16-bit words.

int test_who_am_i() {
	memset(iim42652_data_buffer, 0, 10);

	uint8_t rx_size = 1;
	uint8_t tx_size = 1;

	const uint8_t WHO_AM_I = 0x75;
	iim42652_data_buffer[0] = WHO_AM_I;

	int err = i2c_write_read_handler_iim42652((uint8_t *) iim42652_data_buffer, tx_size, rx_size);

	if (err < 0) {
		LOG_ERR("Failed to read WHO_AM_I register, err %d", err);
		return err;
	}

	// Check expected who am i data...
	const uint8_t EXPECTED_WHO_AM_I = 0x6F;

	if (EXPECTED_WHO_AM_I != iim42652_data_buffer[0]) {
		LOG_ERR("Unexpected WHO_AM_I value for IIM42652! Got %u, expected %u",
			iim42652_data_buffer[0], EXPECTED_WHO_AM_I);
		return -1;
	}

	LOG_INF("Got expected WHO_AM_I value for IIM42652!");
	return 0;
}



////////////////////////////////////////////////////////////////////////////////
// Zephyr Sensor API implementation
////////////////////////////////////////////////////////////////////////////////



int iim42652_init(const struct device *dev) {
	LOG_INF("Starting IIM42652 initialization...");
	iim42652_device = dev;
	struct iim42652_data_t *drv_data = dev->data;
	drv_data->ready = false;

	// Setup i2c
	drv_data->i2c = device_get_binding(DT_INST_BUS_LABEL(0));

	if (drv_data->i2c == NULL) {
		LOG_ERR("Failed to get pointer to %s device!", DT_INST_BUS_LABEL(0));
		return -EINVAL;
	}

	// Chip should now be in the idle state
	LOG_INF("Succesfully initialized IIM42652");
	drv_data->ready = true;
	return 0;
}

static struct iim42652_data_t iim42652_data;

// TODO: Find out what pm_control_fn is and does. Power management?
// TODO: Find out if we need to put something into the 2nd NULL placeholder
DEVICE_DT_INST_DEFINE(
	0,
	iim42652_init,
	NULL,				// pm_control_fn - Pointer to pm_control function. Can be NULL if not implemented.
	&iim42652_data,
	NULL,				// The address to the structure containing the configuration information for this instance of the driver.
	POST_KERNEL,
	CONFIG_SENSOR_INIT_PRIORITY,
	NULL);
```

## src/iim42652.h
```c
#ifndef __ZEPHYR_DRIVERS_SENSOR_IIM42652_H__
#define __ZEPHYR_DRIVERS_SENSOR_IIM42652_H__

#include <device.h>				// For Zephyr's Device API
#include <drivers/gpio.h>		// For Zephyr's GPIO API
#include <drivers/sensor.h>		// For Zephyr's Sensor API

#include <zephyr/types.h>		// For Zephyr types and stdint.h
#include <sys/util.h>			// For stuff like BIT(n) etc


#define IIM42652_I2C_ADDRESS (0x68)

struct iim42652_data_t {
	// I2C device pointer
	const struct device *i2c;

	bool ready;
};

int test_who_am_i();

#endif /* __ZEPHYR_DRIVERS_SENSOR_IIM42652_H__ */
```

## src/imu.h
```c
#ifndef __ZEPHYR_DRIVERS_SENSOR_IMU_ABSTRACTION_H__
#define __ZEPHYR_DRIVERS_SENSOR_IMU_ABSTRACTION_H__

// Include sensor.h for sensor_attribute enum
#include <drivers/sensor.h>

/**
 * This enum holds various attributes for an IMU sensor, such as modes of
 * operation for an IMU. This is to be used with the Zephyr Sensor abstraction
 * layer, specifically as a sensor_attribute.
 */
enum sensor_imu_attribute {
	// Start from SENSOR_ATTR_PRIV_START, so that we can use private sensor
	// attributes to define e.g. different sensor IMU modes as defined below.
	SENSOR_IMU_MODE_UNKNOWN = SENSOR_ATTR_PRIV_START,

	SENSOR_IMU_MODE_SINGLE_MEASUREMENT,
	SENSOR_IMU_MODE_CONTINUOUS_BURST,
	SENSOR_IMU_MODE_CONTINUOUS_THRESHOLDED,

	SENSOR_IMU_MODE_ALL,
};


#endif
```
